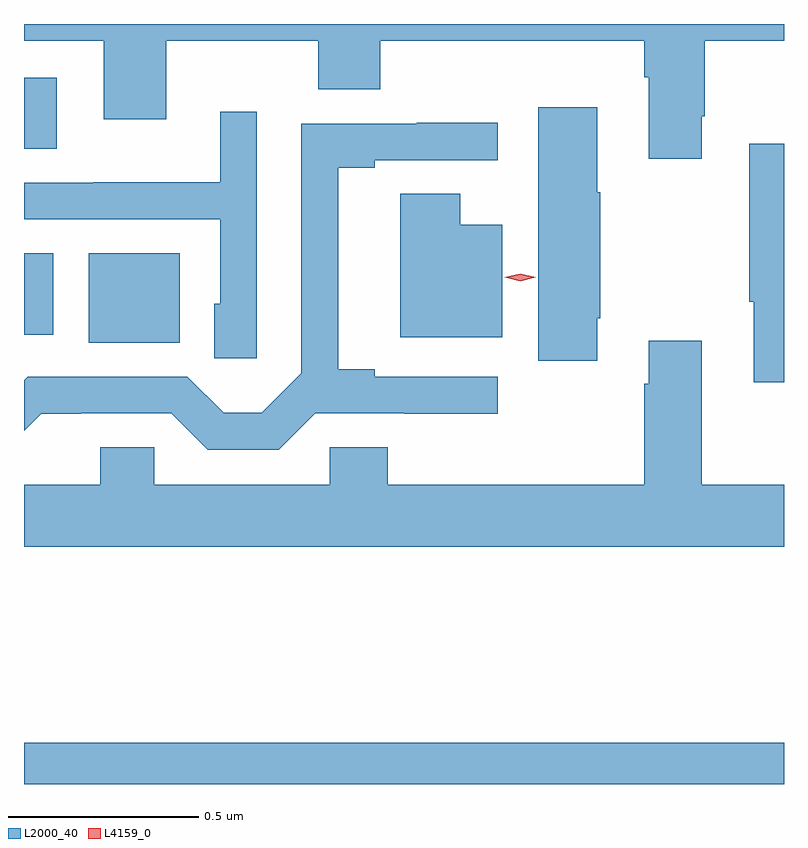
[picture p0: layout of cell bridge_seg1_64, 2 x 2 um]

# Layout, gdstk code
import gdstk
lib = gdstk.Library(unit=1e-6, precision=1e-09)
def R(c, l, rs):  # rectangles x0, y0, x1, y1
    for r in rs: c.add(gdstk.rectangle(r[:2], r[2:], *l))
def P(c, l, *ps):  # polygons
    for p in ps: c.add(gdstk.Polygon(p, *l))
L2000_40 = (2000, 40)
L4159_0 = (4159, 0)

bridge_seg1_64 = lib.new_cell('bridge_seg1_64')
R(bridge_seg1_64, L2000_40, [(513.881,508.484,515.881,508.592), (514.052,509.645,514.291,509.881), (513.881,509.666,513.958,509.881), (513.881,510.156,513.967,510.343)])
P(bridge_seg1_64, L2000_40, [(515.665,510.241),(515.673,510.241),(515.673,510.44),(515.881,510.44),(515.881,510.484),(513.881,510.484),(513.881,510.44),(514.091,510.44),(514.091,510.234),(514.255,510.234),(514.255,510.44),(514.655,510.44),(514.655,510.312),(514.819,510.312),(514.819,510.44),(515.513,510.44),(515.513,510.344),(515.525,510.344),(515.525,510.129),(515.665,510.129)],
  [(515.389,509.71),(515.397,509.71),(515.397,510.041),(515.389,510.041),(515.389,510.265),(515.234,510.265),(515.234,509.598),(515.389,509.598)],
  [(514.494,510.253),(514.397,510.253),(514.397,510.067),(514.063,510.067),(514.063,510.066),(513.881,510.066),(513.881,509.97),(514.398,509.97),(514.398,509.748),(514.382,509.748),(514.382,509.605),(514.494,509.605)],
  [(514.648,509.46),(514.881,509.46),(514.881,509.459),(515.128,509.459),(515.128,509.556),(514.804,509.556),(514.804,509.576),(514.708,509.576),(514.708,510.106),(514.804,510.106),(514.804,510.126),(515.128,510.126),(515.128,510.224),(514.915,510.224),(514.915,510.222),(514.611,510.222),(514.611,509.565),(514.507,509.461),(514.406,509.461),(514.311,509.556),(513.891,509.556),(513.881,509.546),(513.881,509.414),(513.926,509.459),(514.03,509.459),(514.03,509.46),(514.269,509.46),(514.365,509.364),(514.552,509.364)],
  [(515.881,510.169),(515.79,510.169),(515.79,509.753),(515.801,509.753),(515.801,509.541),(515.881,509.541)],
  [(515.14,509.956),(515.029,509.956),(515.029,510.037),(514.871,510.037),(514.871,509.66),(515.14,509.66)],
  [(515.881,509.272),(515.665,509.272),(515.665,509.65),(515.525,509.65),(515.525,509.537),(515.513,509.537),(515.513,509.272),(514.838,509.272),(514.838,509.37),(514.686,509.37),(514.686,509.272),(514.224,509.272),(514.224,509.37),(514.082,509.37),(514.082,509.272),(513.881,509.272),(513.881,509.108),(515.881,509.108)])
P(bridge_seg1_64, L4159_0, [(515.187,509.807),(515.146,509.818),(515.146,509.818),(515.146,509.818),(515.187,509.827),(515.228,509.817),(515.228,509.817),(515.228,509.817)])

lib.write_gds('bridge_seg1_64.gds')
